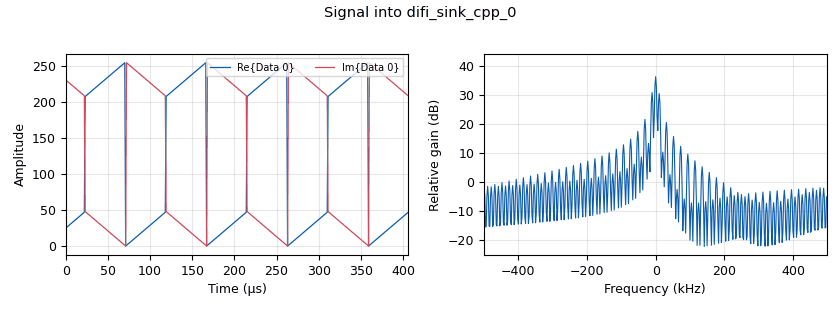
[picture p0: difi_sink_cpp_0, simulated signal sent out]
options:
  parameters:
    author: zoe
    generate_options: qt_gui
    id: test_bursty_mode
    output_language: python
    title: Not titled yet
  states: {}

blocks:
- name: samp_rate
  id: variable
  parameters:
    value: 1e6
  states: {}
- name: blocks_complex_to_interleaved_char_0
  id: blocks_complex_to_interleaved_char
  parameters:
    scale_factor: '1.0'
    vector_output: 'True'
  states: {}
- name: blocks_message_strobe_0
  id: blocks_message_strobe
  parameters:
    msg: pmt.cons(pmt.make_dict(), pmt.init_c32vector(96, [complex(i - 48, 48 - i) for i in range(96)]))
    period: '1500'
  states: {}
- name: difi_sink_cpp_0
  id: difi_sink_cpp
  parameters:
    bit_depth: '8'
    context_pack_size: '108'
    context_packet_send_count: '1000'
    data_size: '672'
    length_tag_name: packet_len
    mode: burst
    ip_addr: 127.0.0.1
    lead_time_us: '10000'
    port: '5003'
    protocol: '2'
    sample_rate: int(samp_rate)
    stream_id: '80000'
  states: {}
- name: difi_source_cpp_0
  id: difi_source_cpp
  parameters:
    bit_depth: '8'
    context_behavior: '0'
    ip_addr: 127.0.0.1
    port: '5003'
    protocol: '2'
    stream_num: '80000'
    type: complex
  states: {}
- name: pdu_pdu_to_tagged_stream_0
  id: pdu_pdu_to_tagged_stream
  parameters:
    tag: packet_len
    type: complex
  states: {}
- name: qtgui_time_sink_x_0
  id: qtgui_time_sink_x
  parameters:
    size: 1024*32
    srate: samp_rate
    type: complex
  states: {}

connections:
- [blocks_complex_to_interleaved_char_0, '0', difi_sink_cpp_0, '0']
- [blocks_message_strobe_0, strobe, pdu_pdu_to_tagged_stream_0, pdus]
- [difi_source_cpp_0, '0', qtgui_time_sink_x_0, '0']
- [pdu_pdu_to_tagged_stream_0, '0', blocks_complex_to_interleaved_char_0, '0']

metadata:
  file_format: 1
  grc_version: 3.10.9.2
